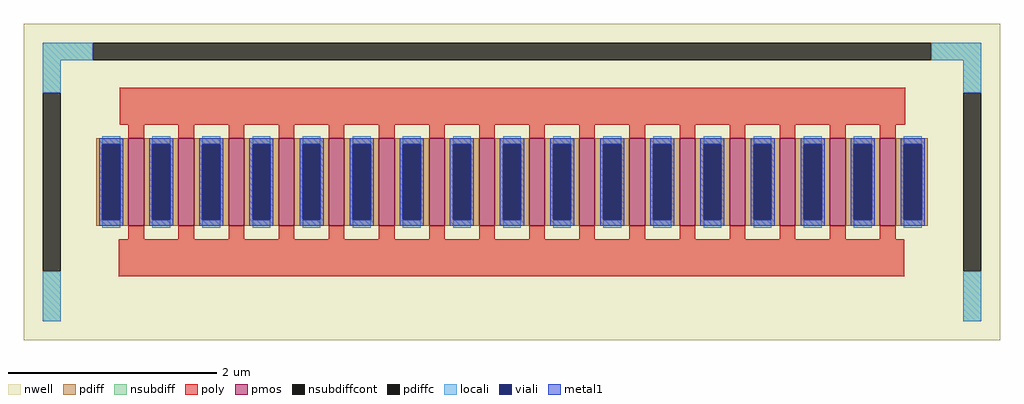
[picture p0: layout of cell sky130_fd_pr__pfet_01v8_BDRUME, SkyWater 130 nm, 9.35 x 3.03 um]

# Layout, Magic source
magic
tech sky130A
magscale 1 2
<< nwell >>
rect -935 -303 935 303
<< pmos >>
rect -735 -84 -705 84
rect -639 -84 -609 84
rect -543 -84 -513 84
rect -447 -84 -417 84
rect -351 -84 -321 84
rect -255 -84 -225 84
rect -159 -84 -129 84
rect -63 -84 -33 84
rect 33 -84 63 84
rect 129 -84 159 84
rect 225 -84 255 84
rect 321 -84 351 84
rect 417 -84 447 84
rect 513 -84 543 84
rect 609 -84 639 84
rect 705 -84 735 84
<< pdiff >>
rect -797 72 -735 84
rect -797 -72 -785 72
rect -751 -72 -735 72
rect -797 -84 -735 -72
rect -705 72 -639 84
rect -705 -72 -689 72
rect -655 -72 -639 72
rect -705 -84 -639 -72
rect -609 72 -543 84
rect -609 -72 -593 72
rect -559 -72 -543 72
rect -609 -84 -543 -72
rect -513 72 -447 84
rect -513 -72 -497 72
rect -463 -72 -447 72
rect -513 -84 -447 -72
rect -417 72 -351 84
rect -417 -72 -401 72
rect -367 -72 -351 72
rect -417 -84 -351 -72
rect -321 72 -255 84
rect -321 -72 -305 72
rect -271 -72 -255 72
rect -321 -84 -255 -72
rect -225 72 -159 84
rect -225 -72 -209 72
rect -175 -72 -159 72
rect -225 -84 -159 -72
rect -129 72 -63 84
rect -129 -72 -113 72
rect -79 -72 -63 72
rect -129 -84 -63 -72
rect -33 72 33 84
rect -33 -72 -17 72
rect 17 -72 33 72
rect -33 -84 33 -72
rect 63 72 129 84
rect 63 -72 79 72
rect 113 -72 129 72
rect 63 -84 129 -72
rect 159 72 225 84
rect 159 -72 175 72
rect 209 -72 225 72
rect 159 -84 225 -72
rect 255 72 321 84
rect 255 -72 271 72
rect 305 -72 321 72
rect 255 -84 321 -72
rect 351 72 417 84
rect 351 -72 367 72
rect 401 -72 417 72
rect 351 -84 417 -72
rect 447 72 513 84
rect 447 -72 463 72
rect 497 -72 513 72
rect 447 -84 513 -72
rect 543 72 609 84
rect 543 -72 559 72
rect 593 -72 609 72
rect 543 -84 609 -72
rect 639 72 705 84
rect 639 -72 655 72
rect 689 -72 705 72
rect 639 -84 705 -72
rect 735 72 797 84
rect 735 -72 751 72
rect 785 -72 797 72
rect 735 -84 797 -72
<< pdiffc >>
rect -785 -72 -751 72
rect -689 -72 -655 72
rect -593 -72 -559 72
rect -497 -72 -463 72
rect -401 -72 -367 72
rect -305 -72 -271 72
rect -209 -72 -175 72
rect -113 -72 -79 72
rect -17 -72 17 72
rect 79 -72 113 72
rect 175 -72 209 72
rect 271 -72 305 72
rect 367 -72 401 72
rect 463 -72 497 72
rect 559 -72 593 72
rect 655 -72 689 72
rect 751 -72 785 72
<< nsubdiff >>
rect -899 233 -803 267
rect 803 233 899 267
rect -899 171 -865 233
rect 865 171 899 233
rect -899 -267 -865 -171
rect 865 -267 899 -171
<< nsubdiffcont >>
rect -803 233 803 267
rect -899 -171 -865 171
rect 865 -171 899 171
<< poly >>
rect -752 110 753 181
rect -735 84 -705 110
rect -639 84 -609 110
rect -543 84 -513 110
rect -447 84 -417 110
rect -351 84 -321 110
rect -255 84 -225 110
rect -159 84 -129 110
rect -63 84 -33 110
rect 33 84 63 110
rect 129 84 159 110
rect 225 84 255 110
rect 321 84 351 110
rect 417 84 447 110
rect 513 84 543 110
rect 609 84 639 110
rect 705 84 735 110
rect -735 -110 -705 -84
rect -639 -110 -609 -84
rect -543 -110 -513 -84
rect -447 -110 -417 -84
rect -351 -110 -321 -84
rect -255 -110 -225 -84
rect -159 -110 -129 -84
rect -63 -110 -33 -84
rect 33 -110 63 -84
rect 129 -110 159 -84
rect 225 -110 255 -84
rect 321 -110 351 -84
rect 417 -110 447 -84
rect 513 -110 543 -84
rect 609 -110 639 -84
rect 705 -110 735 -84
rect -753 -181 752 -110
<< locali >>
rect -899 233 -803 267
rect 803 233 899 267
rect -899 171 -865 233
rect 865 171 899 233
rect -785 72 -751 88
rect -785 -88 -751 -72
rect -689 72 -655 88
rect -689 -88 -655 -72
rect -593 72 -559 88
rect -593 -88 -559 -72
rect -497 72 -463 88
rect -497 -88 -463 -72
rect -401 72 -367 88
rect -401 -88 -367 -72
rect -305 72 -271 88
rect -305 -88 -271 -72
rect -209 72 -175 88
rect -209 -88 -175 -72
rect -113 72 -79 88
rect -113 -88 -79 -72
rect -17 72 17 88
rect -17 -88 17 -72
rect 79 72 113 88
rect 79 -88 113 -72
rect 175 72 209 88
rect 175 -88 209 -72
rect 271 72 305 88
rect 271 -88 305 -72
rect 367 72 401 88
rect 367 -88 401 -72
rect 463 72 497 88
rect 463 -88 497 -72
rect 559 72 593 88
rect 559 -88 593 -72
rect 655 72 689 88
rect 655 -88 689 -72
rect 751 72 785 88
rect 751 -88 785 -72
rect -899 -267 -865 -171
rect 865 -267 899 -171
<< viali >>
rect -785 -72 -751 72
rect -689 -72 -655 72
rect -593 -72 -559 72
rect -497 -72 -463 72
rect -401 -72 -367 72
rect -305 -72 -271 72
rect -209 -72 -175 72
rect -113 -72 -79 72
rect -17 -72 17 72
rect 79 -72 113 72
rect 175 -72 209 72
rect 271 -72 305 72
rect 367 -72 401 72
rect 463 -72 497 72
rect 559 -72 593 72
rect 655 -72 689 72
rect 751 -72 785 72
<< metal1 >>
rect -791 72 -745 84
rect -791 -72 -785 72
rect -751 -72 -745 72
rect -791 -84 -745 -72
rect -695 72 -649 84
rect -695 -72 -689 72
rect -655 -72 -649 72
rect -695 -84 -649 -72
rect -599 72 -553 84
rect -599 -72 -593 72
rect -559 -72 -553 72
rect -599 -84 -553 -72
rect -503 72 -457 84
rect -503 -72 -497 72
rect -463 -72 -457 72
rect -503 -84 -457 -72
rect -407 72 -361 84
rect -407 -72 -401 72
rect -367 -72 -361 72
rect -407 -84 -361 -72
rect -311 72 -265 84
rect -311 -72 -305 72
rect -271 -72 -265 72
rect -311 -84 -265 -72
rect -215 72 -169 84
rect -215 -72 -209 72
rect -175 -72 -169 72
rect -215 -84 -169 -72
rect -119 72 -73 84
rect -119 -72 -113 72
rect -79 -72 -73 72
rect -119 -84 -73 -72
rect -23 72 23 84
rect -23 -72 -17 72
rect 17 -72 23 72
rect -23 -84 23 -72
rect 73 72 119 84
rect 73 -72 79 72
rect 113 -72 119 72
rect 73 -84 119 -72
rect 169 72 215 84
rect 169 -72 175 72
rect 209 -72 215 72
rect 169 -84 215 -72
rect 265 72 311 84
rect 265 -72 271 72
rect 305 -72 311 72
rect 265 -84 311 -72
rect 361 72 407 84
rect 361 -72 367 72
rect 401 -72 407 72
rect 361 -84 407 -72
rect 457 72 503 84
rect 457 -72 463 72
rect 497 -72 503 72
rect 457 -84 503 -72
rect 553 72 599 84
rect 553 -72 559 72
rect 593 -72 599 72
rect 553 -84 599 -72
rect 649 72 695 84
rect 649 -72 655 72
rect 689 -72 695 72
rect 649 -84 695 -72
rect 745 72 791 84
rect 745 -72 751 72
rect 785 -72 791 72
rect 745 -84 791 -72
<< properties >>
string gencell sky130_fd_pr__pfet_01v8
string FIXED_BBOX -882 -250 882 250
string parameters w 0.84 l 0.15 m 1 nf 16 diffcov 100 polycov 100 guard 1 glc 1 grc 1 gtc 1 gbc 0 tbcov 100 rlcov 100 topc 0 botc 0 poverlap 0 doverlap 1 lmin 0.15 wmin 0.42 compatible {sky130_fd_pr__pfet_01v8  sky130_fd_pr__pfet_01v8_lvt sky130_fd_pr__pfet_01v8_hvt  sky130_fd_pr__pfet_g5v0d10v5} full_metal 1 viasrc 100 viadrn 100 viagate 100 viagb 0 viagr 0 viagl 0 viagt 0
string library sky130
<< end >>
